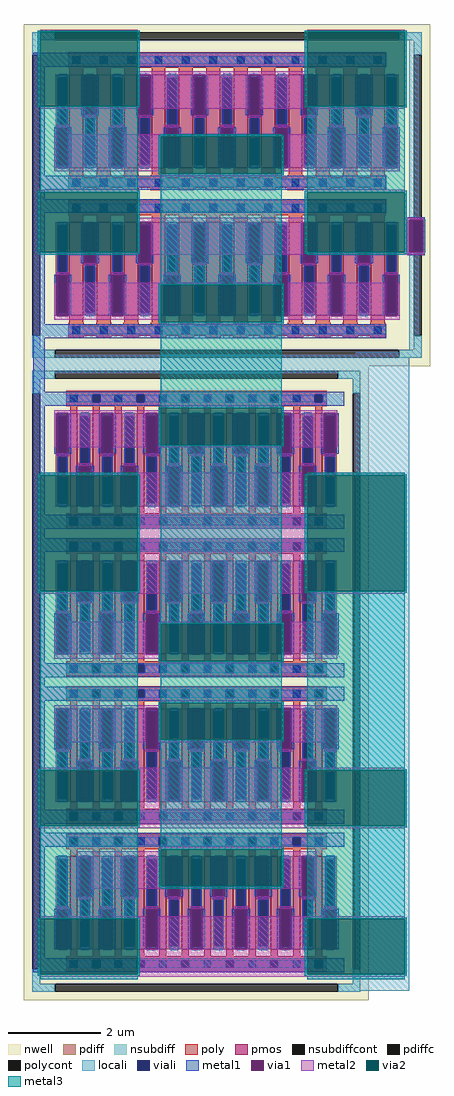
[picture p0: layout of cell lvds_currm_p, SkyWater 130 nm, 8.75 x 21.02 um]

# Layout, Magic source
magic
tech sky130A
magscale 1 2
<< nwell >>
rect 122 3370 1488 3436
rect 122 2852 1488 2898
rect 112 640 1234 706
rect 130 634 160 640
rect 322 634 352 640
rect 514 634 544 640
rect 706 634 736 640
rect 898 634 928 640
rect 1090 634 1120 640
rect 226 178 256 184
rect 418 178 448 184
rect 610 178 640 184
rect 802 178 832 184
rect 994 178 1024 184
rect 1186 178 1216 184
rect 112 112 1234 178
<< poly >>
rect 122 4006 1488 4072
rect 122 3488 1488 3534
rect 122 3370 1488 3436
rect 122 2852 1488 2898
rect 112 2598 1234 2614
rect 112 2564 224 2598
rect 258 2564 416 2598
rect 450 2564 608 2598
rect 642 2564 800 2598
rect 834 2564 992 2598
rect 1026 2564 1184 2598
rect 1218 2564 1234 2598
rect 112 2548 1234 2564
rect 226 2542 256 2548
rect 418 2542 448 2548
rect 610 2542 640 2548
rect 802 2542 832 2548
rect 994 2542 1024 2548
rect 1186 2542 1216 2548
rect 130 2086 160 2092
rect 322 2086 352 2092
rect 514 2086 544 2092
rect 706 2086 736 2092
rect 898 2086 928 2092
rect 1090 2086 1120 2092
rect 112 2070 1234 2086
rect 112 2036 128 2070
rect 162 2036 320 2070
rect 354 2036 512 2070
rect 546 2036 704 2070
rect 738 2036 896 2070
rect 930 2036 1088 2070
rect 1122 2036 1234 2070
rect 112 2020 1234 2036
rect 112 1962 1234 1978
rect 112 1928 128 1962
rect 162 1928 320 1962
rect 354 1928 512 1962
rect 546 1928 704 1962
rect 738 1928 896 1962
rect 930 1928 1088 1962
rect 1122 1928 1234 1962
rect 112 1912 1234 1928
rect 130 1906 160 1912
rect 322 1906 352 1912
rect 514 1906 544 1912
rect 706 1906 736 1912
rect 898 1906 928 1912
rect 1090 1906 1120 1912
rect 226 1450 256 1456
rect 418 1450 448 1456
rect 610 1450 640 1456
rect 802 1450 832 1456
rect 994 1450 1024 1456
rect 1186 1450 1216 1456
rect 112 1434 1234 1450
rect 112 1400 224 1434
rect 258 1400 416 1434
rect 450 1400 608 1434
rect 642 1400 800 1434
rect 834 1400 992 1434
rect 1026 1400 1184 1434
rect 1218 1400 1234 1434
rect 112 1384 1234 1400
rect 112 1326 1234 1342
rect 112 1292 224 1326
rect 258 1292 416 1326
rect 450 1292 608 1326
rect 642 1292 800 1326
rect 834 1292 992 1326
rect 1026 1292 1184 1326
rect 1218 1292 1234 1326
rect 112 1276 1234 1292
rect 226 1270 256 1276
rect 418 1270 448 1276
rect 610 1270 640 1276
rect 802 1270 832 1276
rect 994 1270 1024 1276
rect 1186 1270 1216 1276
rect 130 814 160 820
rect 322 814 352 820
rect 514 814 544 820
rect 706 814 736 820
rect 898 814 928 820
rect 1090 814 1120 820
rect 112 798 1234 814
rect 112 764 128 798
rect 162 764 320 798
rect 354 764 512 798
rect 546 764 704 798
rect 738 764 896 798
rect 930 764 1088 798
rect 1122 764 1234 798
rect 112 748 1234 764
rect 112 690 1234 706
rect 112 656 128 690
rect 162 656 320 690
rect 354 656 512 690
rect 546 656 704 690
rect 738 656 896 690
rect 930 656 1088 690
rect 1122 656 1234 690
rect 112 640 1234 656
rect 130 634 160 640
rect 322 634 352 640
rect 514 634 544 640
rect 706 634 736 640
rect 898 634 928 640
rect 1090 634 1120 640
rect 226 178 256 184
rect 418 178 448 184
rect 610 178 640 184
rect 802 178 832 184
rect 994 178 1024 184
rect 1186 178 1216 184
rect 112 162 1234 178
rect 112 128 224 162
rect 258 128 416 162
rect 450 128 608 162
rect 642 128 800 162
rect 834 128 992 162
rect 1026 128 1184 162
rect 1218 128 1234 162
rect 112 112 1234 128
<< polycont >>
rect 224 2564 258 2598
rect 416 2564 450 2598
rect 608 2564 642 2598
rect 800 2564 834 2598
rect 992 2564 1026 2598
rect 1184 2564 1218 2598
rect 128 2036 162 2070
rect 320 2036 354 2070
rect 512 2036 546 2070
rect 704 2036 738 2070
rect 896 2036 930 2070
rect 1088 2036 1122 2070
rect 128 1928 162 1962
rect 320 1928 354 1962
rect 512 1928 546 1962
rect 704 1928 738 1962
rect 896 1928 930 1962
rect 1088 1928 1122 1962
rect 224 1400 258 1434
rect 416 1400 450 1434
rect 608 1400 642 1434
rect 800 1400 834 1434
rect 992 1400 1026 1434
rect 1184 1400 1218 1434
rect 224 1292 258 1326
rect 416 1292 450 1326
rect 608 1292 642 1326
rect 800 1292 834 1326
rect 992 1292 1026 1326
rect 1184 1292 1218 1326
rect 128 764 162 798
rect 320 764 354 798
rect 512 764 546 798
rect 704 764 738 798
rect 896 764 930 798
rect 1088 764 1122 798
rect 128 656 162 690
rect 320 656 354 690
rect 512 656 546 690
rect 704 656 738 690
rect 896 656 930 690
rect 1088 656 1122 690
rect 224 128 258 162
rect 416 128 450 162
rect 608 128 642 162
rect 800 128 834 162
rect 992 128 1026 162
rect 1184 128 1218 162
<< locali >>
rect 122 4022 1488 4056
rect 122 3494 1488 3528
rect 122 3386 1488 3420
rect 1590 3350 1630 4140
rect 122 2858 1488 2892
rect 1590 2780 1630 3210
rect 1360 2770 1630 2780
rect -30 2760 1630 2770
rect -30 2690 1590 2760
rect 112 2564 224 2598
rect 258 2564 416 2598
rect 450 2564 608 2598
rect 642 2564 800 2598
rect 834 2564 992 2598
rect 1026 2564 1184 2598
rect 1218 2564 1234 2598
rect 112 2036 128 2070
rect 162 2036 320 2070
rect 354 2036 512 2070
rect 546 2036 704 2070
rect 738 2036 896 2070
rect 930 2036 1088 2070
rect 1122 2036 1234 2070
rect 112 1928 128 1962
rect 162 1928 320 1962
rect 354 1928 512 1962
rect 546 1928 704 1962
rect 738 1928 896 1962
rect 930 1928 1088 1962
rect 1122 1928 1234 1962
rect 112 1400 224 1434
rect 258 1400 416 1434
rect 450 1400 608 1434
rect 642 1400 800 1434
rect 834 1400 992 1434
rect 1026 1400 1184 1434
rect 1218 1400 1234 1434
rect 112 1292 224 1326
rect 258 1292 416 1326
rect 450 1292 608 1326
rect 642 1292 800 1326
rect 834 1292 992 1326
rect 1026 1292 1184 1326
rect 1218 1292 1234 1326
rect 112 764 128 798
rect 162 764 320 798
rect 354 764 512 798
rect 546 764 704 798
rect 738 764 896 798
rect 930 764 1088 798
rect 1122 764 1234 798
rect 112 656 128 690
rect 162 656 320 690
rect 354 656 512 690
rect 546 656 704 690
rect 738 656 896 690
rect 930 656 1088 690
rect 1122 656 1234 690
rect 112 128 224 162
rect 258 128 416 162
rect 450 128 608 162
rect 642 128 800 162
rect 834 128 992 162
rect 1026 128 1184 162
rect 1218 128 1234 162
rect 1360 30 1590 2690
<< viali >>
rect 1590 3210 1650 3350
rect 224 2564 258 2598
rect 416 2564 450 2598
rect 608 2564 642 2598
rect 800 2564 834 2598
rect 992 2564 1026 2598
rect 1184 2564 1218 2598
rect 128 2036 162 2070
rect 320 2036 354 2070
rect 512 2036 546 2070
rect 704 2036 738 2070
rect 896 2036 930 2070
rect 1088 2036 1122 2070
rect 128 1928 162 1962
rect 320 1928 354 1962
rect 512 1928 546 1962
rect 704 1928 738 1962
rect 896 1928 930 1962
rect 1088 1928 1122 1962
rect 224 1400 258 1434
rect 416 1400 450 1434
rect 608 1400 642 1434
rect 800 1400 834 1434
rect 992 1400 1026 1434
rect 1184 1400 1218 1434
rect 224 1292 258 1326
rect 416 1292 450 1326
rect 608 1292 642 1326
rect 800 1292 834 1326
rect 992 1292 1026 1326
rect 1184 1292 1218 1326
rect 128 764 162 798
rect 320 764 354 798
rect 512 764 546 798
rect 704 764 738 798
rect 896 764 930 798
rect 1088 764 1122 798
rect 128 656 162 690
rect 320 656 354 690
rect 512 656 546 690
rect 704 656 738 690
rect 896 656 930 690
rect 1088 656 1122 690
rect 224 128 258 162
rect 416 128 450 162
rect 608 128 642 162
rect 800 128 834 162
rect 992 128 1026 162
rect 1184 128 1218 162
<< metal1 >>
rect -30 4010 1490 4070
rect -30 3540 20 4010
rect 178 3800 188 3976
rect 242 3800 252 3976
rect 414 3800 424 3976
rect 478 3800 488 3976
rect 650 3800 660 3976
rect 714 3800 724 3976
rect 886 3800 896 3976
rect 950 3800 960 3976
rect 1122 3800 1132 3976
rect 1186 3800 1196 3976
rect 1358 3800 1368 3976
rect 1422 3800 1432 3976
rect 60 3574 70 3750
rect 124 3574 134 3750
rect 296 3574 306 3750
rect 360 3574 370 3750
rect 532 3574 542 3750
rect 596 3574 606 3750
rect 768 3574 778 3750
rect 832 3574 842 3750
rect 1004 3574 1014 3750
rect 1068 3574 1078 3750
rect 1240 3574 1250 3750
rect 1304 3574 1314 3750
rect 1476 3574 1486 3750
rect 1540 3574 1550 3750
rect -30 3480 1490 3540
rect -30 3440 20 3480
rect -30 3380 1490 3440
rect -30 2900 20 3380
rect 1584 3350 1656 3362
rect 178 3164 188 3340
rect 242 3164 252 3340
rect 414 3164 424 3340
rect 478 3164 488 3340
rect 650 3164 660 3340
rect 714 3164 724 3340
rect 886 3164 896 3340
rect 950 3164 960 3340
rect 1122 3164 1132 3340
rect 1186 3164 1196 3340
rect 1358 3164 1368 3340
rect 1422 3164 1432 3340
rect 1580 3210 1590 3350
rect 1650 3210 1660 3350
rect 1584 3198 1656 3210
rect 60 2938 70 3114
rect 124 2938 134 3114
rect 296 2938 306 3114
rect 360 2938 370 3114
rect 532 2938 542 3114
rect 596 2938 606 3114
rect 768 2938 778 3114
rect 832 2938 842 3114
rect 1004 2938 1014 3114
rect 1068 2938 1078 3114
rect 1240 2938 1250 3114
rect 1304 2938 1314 3114
rect 1476 2938 1486 3114
rect 1540 2938 1550 3114
rect -30 2840 1490 2900
rect -30 2610 20 2840
rect -30 2598 1310 2610
rect -30 2564 224 2598
rect 258 2564 416 2598
rect 450 2564 608 2598
rect 642 2564 800 2598
rect 834 2564 992 2598
rect 1026 2564 1184 2598
rect 1218 2564 1310 2598
rect -30 2550 1310 2564
rect -30 2080 20 2550
rect 60 2342 70 2518
rect 124 2342 134 2518
rect 252 2342 262 2518
rect 316 2342 326 2518
rect 444 2342 454 2518
rect 508 2342 518 2518
rect 636 2342 646 2518
rect 700 2342 710 2518
rect 828 2342 838 2518
rect 892 2342 902 2518
rect 1020 2342 1030 2518
rect 1084 2342 1094 2518
rect 1212 2342 1222 2518
rect 1276 2342 1286 2518
rect 156 2116 166 2292
rect 220 2116 230 2292
rect 348 2116 358 2292
rect 412 2116 422 2292
rect 540 2116 550 2292
rect 604 2116 614 2292
rect 732 2116 742 2292
rect 796 2116 806 2292
rect 924 2116 934 2292
rect 988 2116 998 2292
rect 1116 2116 1126 2292
rect 1180 2116 1190 2292
rect -30 2070 1310 2080
rect -30 2036 128 2070
rect 162 2036 320 2070
rect 354 2036 512 2070
rect 546 2036 704 2070
rect 738 2036 896 2070
rect 930 2036 1088 2070
rect 1122 2036 1310 2070
rect -30 2020 1310 2036
rect -30 1980 20 2020
rect -30 1962 1310 1980
rect -30 1928 128 1962
rect 162 1928 320 1962
rect 354 1928 512 1962
rect 546 1928 704 1962
rect 738 1928 896 1962
rect 930 1928 1088 1962
rect 1122 1928 1310 1962
rect -30 1920 1310 1928
rect -30 1440 20 1920
rect 156 1706 166 1882
rect 220 1706 230 1882
rect 348 1706 358 1882
rect 412 1706 422 1882
rect 540 1706 550 1882
rect 604 1706 614 1882
rect 732 1706 742 1882
rect 796 1706 806 1882
rect 924 1706 934 1882
rect 988 1706 998 1882
rect 1116 1706 1126 1882
rect 1180 1706 1190 1882
rect 60 1480 70 1656
rect 124 1480 134 1656
rect 252 1480 262 1656
rect 316 1480 326 1656
rect 444 1480 454 1656
rect 508 1480 518 1656
rect 636 1480 646 1656
rect 700 1480 710 1656
rect 828 1480 838 1656
rect 892 1480 902 1656
rect 1020 1480 1030 1656
rect 1084 1480 1094 1656
rect 1212 1480 1222 1656
rect 1276 1480 1286 1656
rect -30 1434 1310 1440
rect -30 1400 224 1434
rect 258 1400 416 1434
rect 450 1400 608 1434
rect 642 1400 800 1434
rect 834 1400 992 1434
rect 1026 1400 1184 1434
rect 1218 1400 1310 1434
rect -30 1380 1310 1400
rect -30 1340 20 1380
rect -30 1326 1310 1340
rect -30 1292 224 1326
rect 258 1292 416 1326
rect 450 1292 608 1326
rect 642 1292 800 1326
rect 834 1292 992 1326
rect 1026 1292 1184 1326
rect 1218 1292 1310 1326
rect -30 1280 1310 1292
rect -30 810 20 1280
rect 60 1070 70 1246
rect 124 1070 134 1246
rect 252 1070 262 1246
rect 316 1070 326 1246
rect 444 1070 454 1246
rect 508 1070 518 1246
rect 636 1070 646 1246
rect 700 1070 710 1246
rect 828 1070 838 1246
rect 892 1070 902 1246
rect 1020 1070 1030 1246
rect 1084 1070 1094 1246
rect 1212 1070 1222 1246
rect 1276 1070 1286 1246
rect 156 844 166 1020
rect 220 844 230 1020
rect 348 844 358 1020
rect 412 844 422 1020
rect 540 844 550 1020
rect 604 844 614 1020
rect 732 844 742 1020
rect 796 844 806 1020
rect 924 844 934 1020
rect 988 844 998 1020
rect 1116 844 1126 1020
rect 1180 844 1190 1020
rect -30 798 1310 810
rect -30 764 128 798
rect 162 764 320 798
rect 354 764 512 798
rect 546 764 704 798
rect 738 764 896 798
rect 930 764 1088 798
rect 1122 764 1310 798
rect -30 750 1310 764
rect -30 710 20 750
rect -30 690 1310 710
rect -30 656 128 690
rect 162 656 320 690
rect 354 656 512 690
rect 546 656 704 690
rect 738 656 896 690
rect 930 656 1088 690
rect 1122 656 1310 690
rect -30 650 1310 656
rect -30 170 20 650
rect 156 434 166 610
rect 220 434 230 610
rect 348 434 358 610
rect 412 434 422 610
rect 540 434 550 610
rect 604 434 614 610
rect 732 434 742 610
rect 796 434 806 610
rect 924 434 934 610
rect 988 434 998 610
rect 1116 434 1126 610
rect 1180 434 1190 610
rect 60 208 70 384
rect 124 208 134 384
rect 252 208 262 384
rect 316 208 326 384
rect 444 208 454 384
rect 508 208 518 384
rect 636 208 646 384
rect 700 208 710 384
rect 828 208 838 384
rect 892 208 902 384
rect 1020 208 1030 384
rect 1084 208 1094 384
rect 1212 208 1222 384
rect 1276 208 1286 384
rect -30 162 1310 170
rect -30 128 224 162
rect 258 128 416 162
rect 450 128 608 162
rect 642 128 800 162
rect 834 128 992 162
rect 1026 128 1184 162
rect 1218 128 1310 162
rect -30 110 1310 128
<< via1 >>
rect 188 3800 242 3976
rect 424 3800 478 3976
rect 660 3800 714 3976
rect 896 3800 950 3976
rect 1132 3800 1186 3976
rect 1368 3800 1422 3976
rect 70 3574 124 3750
rect 306 3574 360 3750
rect 542 3574 596 3750
rect 778 3574 832 3750
rect 1014 3574 1068 3750
rect 1250 3574 1304 3750
rect 1486 3574 1540 3750
rect 188 3164 242 3340
rect 424 3164 478 3340
rect 660 3164 714 3340
rect 896 3164 950 3340
rect 1132 3164 1186 3340
rect 1368 3164 1422 3340
rect 1590 3210 1650 3350
rect 70 2938 124 3114
rect 306 2938 360 3114
rect 542 2938 596 3114
rect 778 2938 832 3114
rect 1014 2938 1068 3114
rect 1250 2938 1304 3114
rect 1486 2938 1540 3114
rect 70 2342 124 2518
rect 262 2342 316 2518
rect 454 2342 508 2518
rect 646 2342 700 2518
rect 838 2342 892 2518
rect 1030 2342 1084 2518
rect 1222 2342 1276 2518
rect 166 2116 220 2292
rect 358 2116 412 2292
rect 550 2116 604 2292
rect 742 2116 796 2292
rect 934 2116 988 2292
rect 1126 2116 1180 2292
rect 166 1706 220 1882
rect 358 1706 412 1882
rect 550 1706 604 1882
rect 742 1706 796 1882
rect 934 1706 988 1882
rect 1126 1706 1180 1882
rect 70 1480 124 1656
rect 262 1480 316 1656
rect 454 1480 508 1656
rect 646 1480 700 1656
rect 838 1480 892 1656
rect 1030 1480 1084 1656
rect 1222 1480 1276 1656
rect 70 1070 124 1246
rect 262 1070 316 1246
rect 454 1070 508 1246
rect 646 1070 700 1246
rect 838 1070 892 1246
rect 1030 1070 1084 1246
rect 1222 1070 1276 1246
rect 166 844 220 1020
rect 358 844 412 1020
rect 550 844 604 1020
rect 742 844 796 1020
rect 934 844 988 1020
rect 1126 844 1180 1020
rect 166 434 220 610
rect 358 434 412 610
rect 550 434 604 610
rect 742 434 796 610
rect 934 434 988 610
rect 1126 434 1180 610
rect 70 208 124 384
rect 262 208 316 384
rect 454 208 508 384
rect 646 208 700 384
rect 838 208 892 384
rect 1030 208 1084 384
rect 1222 208 1276 384
<< metal2 >>
rect 0 4160 420 4170
rect 1150 4160 1570 4170
rect 420 3976 1150 3990
rect 420 3840 424 3976
rect 0 3830 188 3840
rect 242 3830 424 3840
rect 188 3790 242 3800
rect 478 3830 660 3976
rect 424 3790 478 3800
rect 714 3830 896 3976
rect 660 3790 714 3800
rect 950 3830 1132 3976
rect 896 3790 950 3800
rect 1186 3830 1368 3840
rect 1132 3790 1186 3800
rect 1422 3830 1570 3840
rect 1368 3790 1422 3800
rect 70 3750 124 3760
rect 60 3574 70 3720
rect 306 3750 360 3760
rect 124 3574 306 3720
rect 542 3750 596 3760
rect 360 3710 542 3720
rect 778 3750 832 3760
rect 596 3710 778 3720
rect 1014 3750 1068 3760
rect 832 3710 1014 3720
rect 1250 3750 1304 3760
rect 360 3574 520 3710
rect 1068 3574 1250 3720
rect 1486 3750 1540 3760
rect 1304 3574 1486 3720
rect 1540 3574 1550 3720
rect 60 3560 520 3574
rect 1040 3560 1550 3574
rect 520 3540 1040 3550
rect 0 3470 420 3480
rect 1150 3470 1570 3480
rect 420 3340 1150 3360
rect 1570 3350 1650 3360
rect 420 3210 424 3340
rect 0 3200 188 3210
rect 242 3200 424 3210
rect 188 3154 242 3164
rect 478 3200 660 3340
rect 424 3154 478 3164
rect 714 3200 896 3340
rect 660 3154 714 3164
rect 950 3200 1132 3340
rect 1570 3210 1590 3350
rect 896 3154 950 3164
rect 1186 3200 1368 3210
rect 1132 3154 1186 3164
rect 1422 3200 1650 3210
rect 1368 3154 1422 3164
rect 70 3114 124 3124
rect 60 2938 70 3080
rect 306 3114 360 3124
rect 124 2938 306 3080
rect 542 3114 596 3124
rect 360 3070 542 3080
rect 778 3114 832 3124
rect 596 3070 778 3080
rect 1014 3114 1068 3124
rect 832 3070 1014 3080
rect 1250 3114 1304 3124
rect 360 2938 520 3070
rect 1068 2938 1250 3080
rect 1486 3114 1540 3124
rect 1304 2938 1486 3080
rect 1540 2938 1550 3080
rect 60 2920 520 2938
rect 1040 2920 1550 2938
rect 520 2900 1040 2910
rect 520 2540 1040 2550
rect 60 2518 520 2530
rect 1040 2518 1280 2530
rect 60 2370 70 2518
rect 124 2370 262 2518
rect 70 2332 124 2342
rect 316 2370 454 2518
rect 262 2332 316 2342
rect 508 2380 520 2518
rect 508 2370 646 2380
rect 454 2332 508 2342
rect 700 2370 838 2380
rect 646 2332 700 2342
rect 892 2370 1030 2380
rect 838 2332 892 2342
rect 1084 2370 1222 2518
rect 1030 2332 1084 2342
rect 1276 2370 1280 2518
rect 1222 2332 1276 2342
rect 166 2292 220 2302
rect 0 2250 166 2260
rect 358 2292 412 2302
rect 220 2250 358 2260
rect 550 2292 604 2302
rect 412 2250 550 2260
rect 420 2116 550 2250
rect 742 2292 796 2302
rect 604 2116 742 2260
rect 934 2292 988 2302
rect 796 2116 934 2260
rect 1126 2292 1180 2302
rect 988 2116 1126 2260
rect 1180 2250 1570 2260
rect 420 1882 1150 2116
rect 420 1750 550 1882
rect 0 1740 166 1750
rect 220 1740 358 1750
rect 166 1696 220 1706
rect 412 1740 550 1750
rect 358 1696 412 1706
rect 604 1740 742 1882
rect 550 1696 604 1706
rect 796 1740 934 1882
rect 742 1696 796 1706
rect 988 1740 1126 1882
rect 934 1696 988 1706
rect 1180 1740 1570 1750
rect 1126 1696 1180 1706
rect 70 1656 124 1666
rect 60 1480 70 1620
rect 262 1656 316 1666
rect 124 1480 262 1620
rect 454 1656 508 1666
rect 316 1480 454 1620
rect 646 1656 700 1666
rect 508 1610 646 1620
rect 838 1656 892 1666
rect 700 1610 838 1620
rect 1030 1656 1084 1666
rect 892 1610 1030 1620
rect 1222 1656 1276 1666
rect 508 1480 520 1610
rect 1084 1480 1222 1620
rect 1276 1480 1280 1620
rect 60 1460 520 1480
rect 1040 1460 1280 1480
rect 520 1440 1040 1450
rect 520 1270 1040 1280
rect 60 1246 520 1260
rect 1040 1246 1280 1260
rect 60 1100 70 1246
rect 124 1100 262 1246
rect 70 1060 124 1070
rect 316 1100 454 1246
rect 262 1060 316 1070
rect 508 1110 520 1246
rect 508 1100 646 1110
rect 454 1060 508 1070
rect 700 1100 838 1110
rect 646 1060 700 1070
rect 892 1100 1030 1110
rect 838 1060 892 1070
rect 1084 1100 1222 1246
rect 1030 1060 1084 1070
rect 1276 1100 1280 1246
rect 1222 1060 1276 1070
rect 166 1020 220 1030
rect 0 980 166 990
rect 358 1020 412 1030
rect 220 980 358 990
rect 550 1020 604 1030
rect 412 980 550 990
rect 420 844 550 980
rect 742 1020 796 1030
rect 604 844 742 990
rect 934 1020 988 1030
rect 796 844 934 990
rect 1126 1020 1180 1030
rect 988 844 1126 990
rect 1180 980 1570 990
rect 420 740 1150 844
rect 0 730 1570 740
rect 520 640 1040 650
rect 160 610 520 630
rect 1040 610 1190 630
rect 160 470 166 610
rect 220 470 358 610
rect 166 424 220 434
rect 412 480 520 610
rect 1040 480 1126 610
rect 412 470 550 480
rect 358 424 412 434
rect 604 470 742 480
rect 550 424 604 434
rect 796 470 934 480
rect 742 424 796 434
rect 988 470 1126 480
rect 934 424 988 434
rect 1180 470 1190 610
rect 1126 424 1180 434
rect 70 384 124 394
rect 0 340 70 350
rect 262 384 316 394
rect 124 340 262 350
rect 454 384 508 394
rect 316 340 454 350
rect 420 208 454 340
rect 646 384 700 394
rect 508 208 646 350
rect 838 384 892 394
rect 700 208 838 350
rect 1030 384 1084 394
rect 892 208 1030 350
rect 1222 384 1276 394
rect 1084 340 1222 350
rect 1276 340 1570 350
rect 1084 208 1150 340
rect 420 100 1150 208
rect 0 90 1570 100
<< via2 >>
rect 0 3976 420 4160
rect 1150 3976 1570 4160
rect 0 3840 188 3976
rect 188 3840 242 3976
rect 242 3840 420 3976
rect 1150 3840 1186 3976
rect 1186 3840 1368 3976
rect 1368 3840 1422 3976
rect 1422 3840 1570 3976
rect 520 3574 542 3710
rect 542 3574 596 3710
rect 596 3574 778 3710
rect 778 3574 832 3710
rect 832 3574 1014 3710
rect 1014 3574 1040 3710
rect 520 3550 1040 3574
rect 0 3340 420 3470
rect 1150 3340 1570 3470
rect 0 3210 188 3340
rect 188 3210 242 3340
rect 242 3210 420 3340
rect 1150 3210 1186 3340
rect 1186 3210 1368 3340
rect 1368 3210 1422 3340
rect 1422 3210 1570 3340
rect 520 2938 542 3070
rect 542 2938 596 3070
rect 596 2938 778 3070
rect 778 2938 832 3070
rect 832 2938 1014 3070
rect 1014 2938 1040 3070
rect 520 2910 1040 2938
rect 520 2518 1040 2540
rect 520 2380 646 2518
rect 646 2380 700 2518
rect 700 2380 838 2518
rect 838 2380 892 2518
rect 892 2380 1030 2518
rect 1030 2380 1040 2518
rect 0 2116 166 2250
rect 166 2116 220 2250
rect 220 2116 358 2250
rect 358 2116 412 2250
rect 412 2116 420 2250
rect 1150 2116 1180 2250
rect 1180 2116 1570 2250
rect 0 1882 420 2116
rect 1150 1882 1570 2116
rect 0 1750 166 1882
rect 166 1750 220 1882
rect 220 1750 358 1882
rect 358 1750 412 1882
rect 412 1750 420 1882
rect 1150 1750 1180 1882
rect 1180 1750 1570 1882
rect 520 1480 646 1610
rect 646 1480 700 1610
rect 700 1480 838 1610
rect 838 1480 892 1610
rect 892 1480 1030 1610
rect 1030 1480 1040 1610
rect 520 1450 1040 1480
rect 520 1246 1040 1270
rect 520 1110 646 1246
rect 646 1110 700 1246
rect 700 1110 838 1246
rect 838 1110 892 1246
rect 892 1110 1030 1246
rect 1030 1110 1040 1246
rect 0 844 166 980
rect 166 844 220 980
rect 220 844 358 980
rect 358 844 412 980
rect 412 844 420 980
rect 1150 844 1180 980
rect 1180 844 1570 980
rect 0 740 420 844
rect 1150 740 1570 844
rect 520 610 1040 640
rect 520 480 550 610
rect 550 480 604 610
rect 604 480 742 610
rect 742 480 796 610
rect 796 480 934 610
rect 934 480 988 610
rect 988 480 1040 610
rect 0 208 70 340
rect 70 208 124 340
rect 124 208 262 340
rect 262 208 316 340
rect 316 208 420 340
rect 1150 208 1222 340
rect 1222 208 1276 340
rect 1276 208 1570 340
rect 0 100 420 208
rect 1150 100 1570 208
<< metal3 >>
rect -10 4160 430 4165
rect -10 3840 0 4160
rect 420 3840 430 4160
rect -10 3835 430 3840
rect 1140 4160 1580 4165
rect 1140 3840 1150 4160
rect 1570 3840 1580 4160
rect 1140 3835 1580 3840
rect 0 3475 420 3835
rect 520 3715 1040 3720
rect 510 3710 1050 3715
rect 510 3550 520 3710
rect 1040 3550 1050 3710
rect 510 3545 1050 3550
rect -10 3470 430 3475
rect -10 3210 0 3470
rect 420 3210 430 3470
rect -10 3205 430 3210
rect 0 3200 420 3205
rect 520 3075 1040 3545
rect 1150 3475 1570 3835
rect 1140 3470 1580 3475
rect 1140 3210 1150 3470
rect 1570 3210 1580 3470
rect 1140 3205 1580 3210
rect 1150 3200 1570 3205
rect 510 3070 1050 3075
rect 510 2910 520 3070
rect 1040 2910 1050 3070
rect 510 2905 1050 2910
rect 520 2545 1040 2905
rect 510 2540 1050 2545
rect 510 2380 520 2540
rect 1040 2380 1050 2540
rect 510 2375 1050 2380
rect 0 2255 420 2260
rect -10 2250 430 2255
rect -10 1750 0 2250
rect 420 1750 430 2250
rect -10 1745 430 1750
rect 0 985 420 1745
rect 520 1615 1040 2375
rect 1150 2255 1570 2260
rect 1140 2250 1580 2255
rect 1140 1750 1150 2250
rect 1570 1750 1580 2250
rect 1140 1745 1580 1750
rect 510 1610 1050 1615
rect 510 1450 520 1610
rect 1040 1450 1050 1610
rect 510 1445 1050 1450
rect 520 1275 1040 1445
rect 510 1270 1050 1275
rect 510 1110 520 1270
rect 1040 1110 1050 1270
rect 510 1105 1050 1110
rect -10 980 430 985
rect -10 740 0 980
rect 420 740 430 980
rect -10 735 430 740
rect 0 345 420 735
rect 520 645 1040 1105
rect 1150 985 1570 1745
rect 1140 980 1580 985
rect 1140 740 1150 980
rect 1570 740 1580 980
rect 1140 735 1580 740
rect 510 640 1050 645
rect 510 480 520 640
rect 1040 480 1050 640
rect 510 475 1050 480
rect 520 470 1040 475
rect 1150 345 1570 735
rect -10 340 430 345
rect -10 100 0 340
rect 420 100 430 340
rect -10 95 430 100
rect 1140 340 1580 345
rect 1140 100 1150 340
rect 1570 100 1580 340
rect 1140 95 1580 100
rect 0 80 420 95
rect 1150 80 1570 95
use sky130_fd_pr__pfet_01v8_8DK6RJ  sky130_fd_pr__pfet_01v8_8DK6RJ_0
transform 1 0 673 0 1 1363
box -743 -1373 743 1373
use sky130_fd_pr__pfet_01v8_9Z5L4S  sky130_fd_pr__pfet_01v8_9Z5L4S_0
transform 1 0 805 0 -1 3457
box -875 -737 875 737
<< end >>

# cell sky130_fd_pr__pfet_01v8_8DK6RJ: kit device sky130_fd_pr__pfet_01v8, w 2 l 0.15 m 4 nf 12 diffcov 100 polycov 100 guard 1 glc 1 grc 1 gtc 1 gbc 1 tbcov 100 rlcov 100 topc 1 botc 1 poverlap 0 doverlap 1 lmin 0.15 wmin 0.42 compatible {sky130_fd_pr__pfet_01v8 sky130_fd_pr__pfet_01v8_lvt sky130_fd_pr__pfet_01v8_hvt sky130_fd_pr__pfet_g5v0d10v5} full_metal 1 viasrc 100 viadrn 100 viagate 100 viagb 0 viagr 0 viagl 0 viagt 0

# cell sky130_fd_pr__pfet_01v8_9Z5L4S: kit device sky130_fd_pr__pfet_01v8, w 2 l 0.3 m 2 nf 12 diffcov 100 polycov 100 guard 1 glc 1 grc 1 gtc 1 gbc 1 tbcov 100 rlcov 100 topc 1 botc 1 poverlap 0 doverlap 1 lmin 0.15 wmin 0.42 compatible {sky130_fd_pr__pfet_01v8 sky130_fd_pr__pfet_01v8_lvt sky130_fd_pr__pfet_01v8_hvt sky130_fd_pr__pfet_g5v0d10v5} full_metal 1 viasrc 100 viadrn 100 viagate 100 viagb 0 viagr 0 viagl 0 viagt 0
